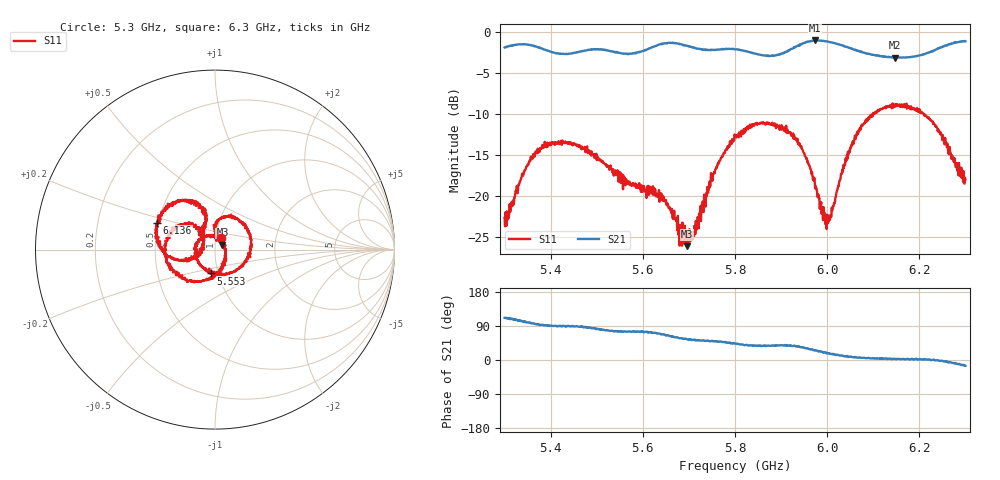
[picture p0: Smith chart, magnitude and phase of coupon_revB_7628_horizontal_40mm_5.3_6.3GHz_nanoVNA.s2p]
! NanoVNA-App
! Date: 2026-11-01 21:51:28
! Start: 5,3GHz Stop: 6,3GHz Points: 1001
! S-Parameter data: F S11 S21 S12 S22
# Hz S RI R 50
!  Frequency  S11_Real  S11_Imag  S21_Real  S21_Imag  S12_Real  S12_Imag  S22_Real  S22_Imag
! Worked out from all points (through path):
!   1001 points, 5.3 GHz to 6.3 GHz, reference 50 ohm
!   highest |S21| = -1.00 dB at 5.973 GHz (marker M1); lowest = -3.1 dB at 6.147 GHz (marker M2)
!   group delay of S21, straight-line fit = 333 ps
!   lowest |S11| = -26.1 dB at 5.695 GHz (marker M3), VSWR 1.10, Z = 54.2 + j3 ohm
!   |S11| at or under -10 dB: start of sweep to 6.098 GHz; 6.098041 GHz to 6.099553 GHz (1.512 MHz wide, 0.0248 % of centre); 6.21 GHz to end of sweep
!   S12 and S22 are empty: the file has one direction only
!   S11 on the Smith chart (normalised r, x): 5.3 GHz: 1.06, +0.14; 5.553 GHz: 0.93, -0.25; 6.136 GHz: 0.49, +0.17; 6.3 GHz: 0.84, +0.17
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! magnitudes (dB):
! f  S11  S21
! 5.3 GHz  -22.6  -1.9
! 5.367 GHz  -14.6  -1.7
! 5.402 GHz  -13.4  -2.4
! 5.467 GHz  -14.3  -2.3
! 5.553 GHz  -17.4  -2.6
! 5.634 GHz  -19.9  -1.5
! 5.695 GHz  -26.1  -1.6
! 5.709 GHz  -24.7  -1.9
! 5.753 GHz  -17.2  -2.1
! 5.8 GHz  -12.6  -2.1
! 5.847 GHz  -11.0  -2.6
! 5.906 GHz  -11.6  -2.5
! 5.941 GHz  -13.8  -1.5
! 5.967 GHz  -17.0  -1.1
! 5.973 GHz  -18.2  -1.0
! 6.001 GHz  -23.2  -1.1
! 6.065 GHz  -12.1  -2.2
! 6.134 GHz  -9.1  -3.0
! 6.136 GHz  -9.0  -3.0
! 6.147 GHz  -8.8  -3.1
! 6.226 GHz  -10.7  -2.4
! 6.3 GHz  -17.9  -1.1
